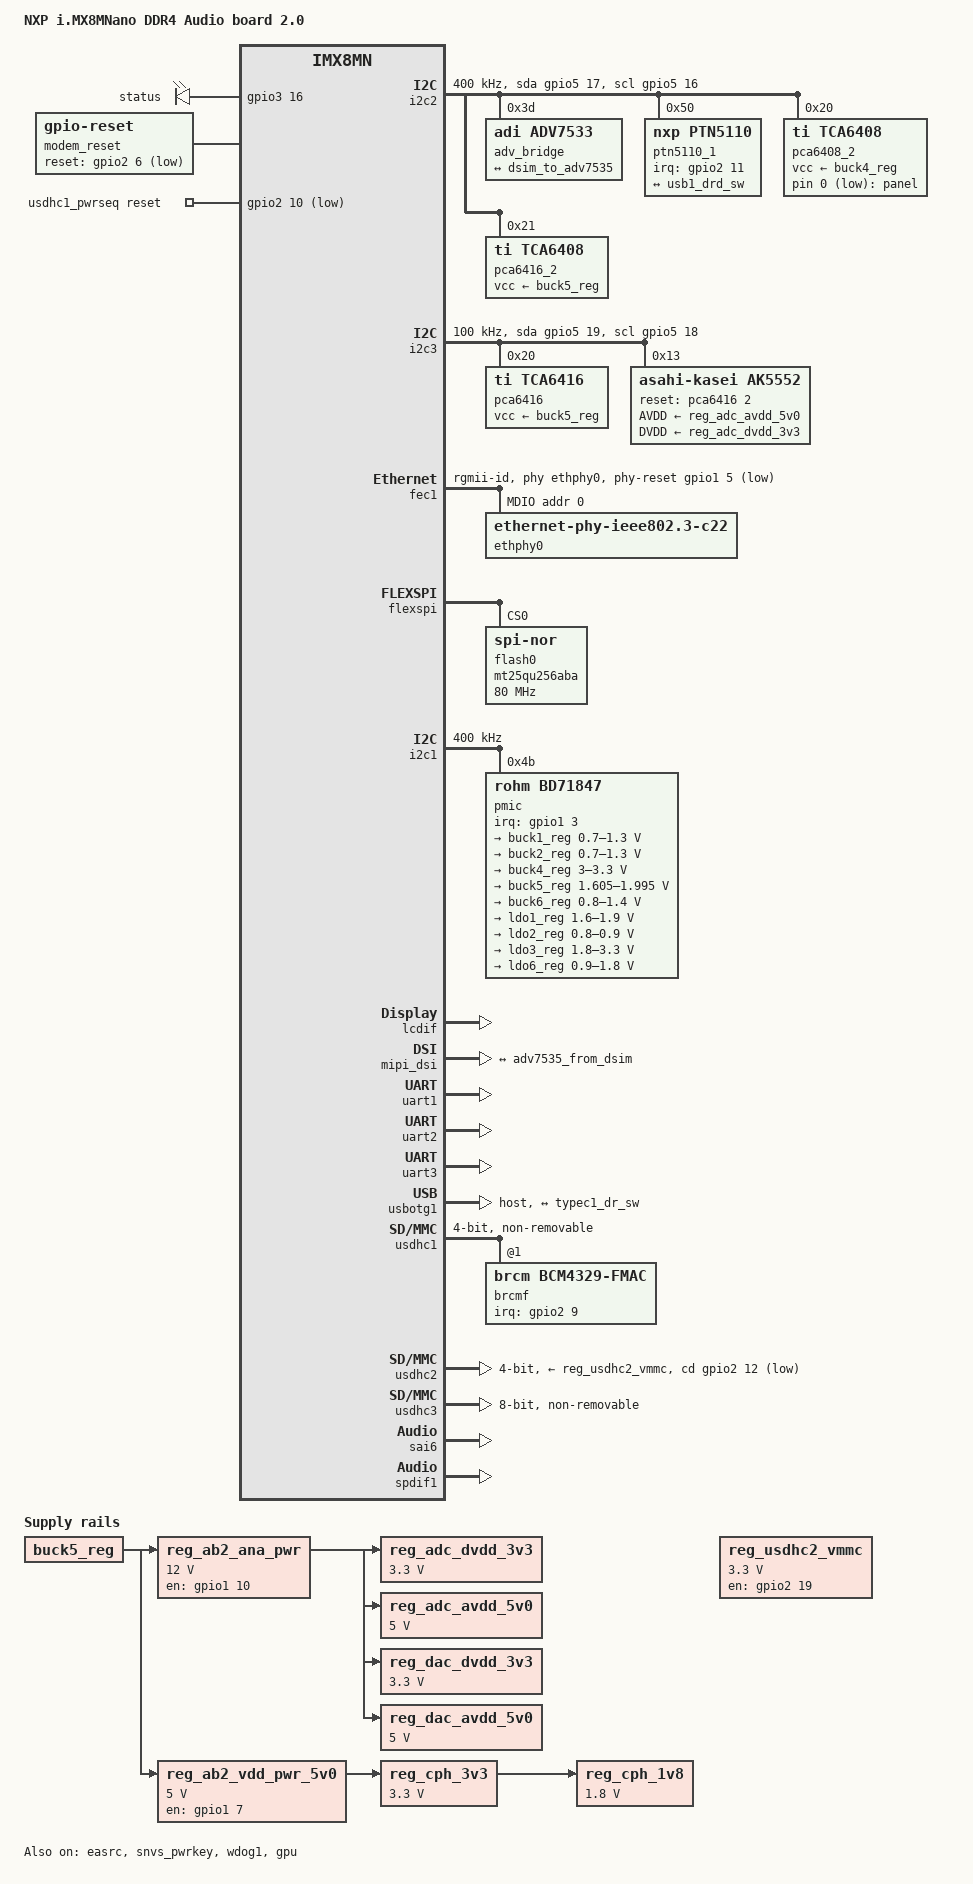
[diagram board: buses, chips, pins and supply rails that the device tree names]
// SPDX-License-Identifier: (GPL-2.0+ OR MIT)
/*
 * Copyright 2020 NXP
 */

/dts-v1/;

#include <dt-bindings/usb/pd.h>
#include "imx8mn.dtsi"

/ {
	model = "NXP i.MX8MNano DDR4 Audio board 2.0";
	compatible = "fsl,imx8mn-ddr4-ab2", "fsl,imx8mn";

	chosen {
		stdout-path = &uart2;
	};

	leds {
		compatible = "gpio-leds";
		pinctrl-names = "default";
		pinctrl-0 = <&pinctrl_gpio_led>;

		status {
			label = "status";
			gpios = <&gpio3 16 GPIO_ACTIVE_HIGH>;
			default-state = "on";
		};

		panel {
			label = "panel";
			gpios = <&pca6408_2 0 GPIO_ACTIVE_LOW>;
			default-state = "on";
		};
	};

	modem_reset: modem-reset {
		compatible = "gpio-reset";
		reset-gpios = <&gpio2 6 GPIO_ACTIVE_LOW>;
		reset-delay-us = <2000>;
		reset-post-delay-ms = <40>;
		#reset-cells = <0>;
	};

	usdhc1_pwrseq: usdhc1_pwrseq {
		compatible = "mmc-pwrseq-simple";
		pinctrl-names = "default";
		pinctrl-0 = <&pinctrl_usdhc1_gpio>;
		reset-gpios = <&gpio2 10 GPIO_ACTIVE_LOW>;
	};

	reg_usdhc2_vmmc: regulator-usdhc2 {
		compatible = "regulator-fixed";
		pinctrl-names = "default";
		pinctrl-0 = <&pinctrl_reg_usdhc2_vmmc>;
		regulator-name = "VSD_3V3";
		regulator-min-microvolt = <3300000>;
		regulator-max-microvolt = <3300000>;
		gpio = <&gpio2 19 GPIO_ACTIVE_HIGH>;
		off-on-delay-us = <12000>;
		enable-active-high;
	};

	reg_ab2_ana_pwr: regulator-ab2-ana-pwr {
		compatible = "regulator-fixed";
		regulator-name = "ANA_12V0";
		pinctrl-names = "default";
		pinctrl-0 = <&pinctrl_ab2_ana_pwr>;
		regulator-min-microvolt = <12000000>;
		regulator-max-microvolt = <12000000>;
		gpio = <&gpio1 10 GPIO_ACTIVE_HIGH>;
		vin-supply = <&buck5_reg>;
		enable-active-high;
	};

	reg_ab2_vdd_pwr_5v0: regulator-ab2-vdd-pwr-5v0 {
		compatible = "regulator-fixed";
		regulator-name = "VDD_5V0";
		pinctrl-names = "default";
		pinctrl-0 = <&pinctrl_ab2_vdd_pwr_5v0>;
		regulator-min-microvolt = <5000000>;
		regulator-max-microvolt = <5000000>;
		gpio = <&gpio1 7 GPIO_ACTIVE_HIGH>;
		vin-supply = <&buck5_reg>;
		enable-active-high;
		regulator-always-on;
		regulator-boot-on;
	};

	reg_adc_dvdd_3v3: reg-adc-dvdd-3v3 {
		compatible = "regulator-fixed";
		regulator-name = "ADC_DVDD_3V3";
		regulator-min-microvolt = <3300000>;
		regulator-max-microvolt = <3300000>;
		vin-supply = <&reg_ab2_ana_pwr>;
	};

	reg_adc_avdd_5v0: reg-adc-avdd-5v0 {
		compatible = "regulator-fixed";
		regulator-name = "ADC_AVDD_5V0";
		regulator-min-microvolt = <5000000>;
		regulator-max-microvolt = <5000000>;
		vin-supply = <&reg_ab2_ana_pwr>;
	};

	reg_dac_dvdd_3v3: reg-dac-dvdd-3v3 {
		compatible = "regulator-fixed";
		regulator-name = "DAC_DVDD_3V3";
		regulator-min-microvolt = <3300000>;
		regulator-max-microvolt = <3300000>;
		vin-supply = <&reg_ab2_ana_pwr>;
	};

	reg_dac_avdd_5v0: reg-dac-avdd-5v0 {
		compatible = "regulator-fixed";
		regulator-name = "DAC_AVDD_5V0";
		regulator-min-microvolt = <5000000>;
		regulator-max-microvolt = <5000000>;
		vin-supply = <&reg_ab2_ana_pwr>;
	};

	reg_cph_3v3: reg-cph-3v3 {
		compatible = "regulator-fixed";
		regulator-name = "CPH_3V3";
		regulator-min-microvolt = <3300000>;
		regulator-max-microvolt = <3300000>;
		vin-supply = <&reg_ab2_vdd_pwr_5v0>;
	};

	reg_cph_1v8: reg-cph-1v8 {
		compatible = "regulator-fixed";
		regulator-name = "CPH_1V8";
		regulator-min-microvolt = <1800000>;
		regulator-max-microvolt = <1800000>;
		vin-supply = <&reg_cph_3v3>;
	};

	sound-ak5552 {
		compatible = "fsl,imx-audio-ak5552";
		model = "ak5552-audio";
		audio-cpu = <&sai6>;
		audio-codec = <&ak5552>;
	};

	sound-spdif {
		compatible = "fsl,imx-audio-spdif";
		model = "imx-spdif";
		spdif-controller = <&spdif1>;
		spdif-out;
		spdif-in;
	};
};

&clk {
	assigned-clocks = <&clk IMX8MN_AUDIO_PLL1>, <&clk IMX8MN_AUDIO_PLL2>;
	assigned-clock-rates = <393216000>, <361267200>;
};

&easrc {
	fsl,asrc-rate  = <48000>;
	status = "okay";
};

&A53_0 {
	cpu-supply = <&buck2_reg>;
};

&iomuxc {
	pinctrl-names = "default";

	pinctrl_fec1: fec1grp {
		fsl,pins = <
			MX8MN_IOMUXC_ENET_MDC_ENET1_MDC		0x3
			MX8MN_IOMUXC_ENET_MDIO_ENET1_MDIO	0x3
			MX8MN_IOMUXC_ENET_TD3_ENET1_RGMII_TD3	0x1f
			MX8MN_IOMUXC_ENET_TD2_ENET1_RGMII_TD2	0x1f
			MX8MN_IOMUXC_ENET_TD1_ENET1_RGMII_TD1	0x1f
			MX8MN_IOMUXC_ENET_TD0_ENET1_RGMII_TD0	0x1f
			MX8MN_IOMUXC_ENET_RD3_ENET1_RGMII_RD3	0x91
			MX8MN_IOMUXC_ENET_RD2_ENET1_RGMII_RD2	0x91
			MX8MN_IOMUXC_ENET_RD1_ENET1_RGMII_RD1	0x91
			MX8MN_IOMUXC_ENET_RD0_ENET1_RGMII_RD0	0x91
			MX8MN_IOMUXC_ENET_TXC_ENET1_RGMII_TXC	0x1f
			MX8MN_IOMUXC_ENET_RXC_ENET1_RGMII_RXC	0x91
			MX8MN_IOMUXC_ENET_RX_CTL_ENET1_RGMII_RX_CTL	0x91
			MX8MN_IOMUXC_ENET_TX_CTL_ENET1_RGMII_TX_CTL	0x1f
			MX8MN_IOMUXC_GPIO1_IO05_GPIO1_IO5	0x19
		>;
	};

	pinctrl_gpio_led: gpioledgrp {
		fsl,pins = <
			MX8MN_IOMUXC_NAND_READY_B_GPIO3_IO16	0x19
		>;
	};

	pinctrl_flexspi0: flexspi0grp {
		fsl,pins = <
			MX8MN_IOMUXC_NAND_ALE_QSPI_A_SCLK 0x1c4
			MX8MN_IOMUXC_NAND_CE0_B_QSPI_A_SS0_B 0x84
			MX8MN_IOMUXC_NAND_DATA00_QSPI_A_DATA0 0x84
			MX8MN_IOMUXC_NAND_DATA01_QSPI_A_DATA1 0x84
			MX8MN_IOMUXC_NAND_DATA02_QSPI_A_DATA2 0x84
			MX8MN_IOMUXC_NAND_DATA03_QSPI_A_DATA3 0x84
		>;
	};

	pinctrl_mipi_dsi_en: mipi_dsi_en {
		fsl,pins = <
			MX8MN_IOMUXC_GPIO1_IO08_GPIO1_IO8		0x16
		>;
	};

	pinctrl_i2c1: i2c1grp {
		fsl,pins = <
			MX8MN_IOMUXC_I2C1_SCL_I2C1_SCL		0x400001c3
			MX8MN_IOMUXC_I2C1_SDA_I2C1_SDA		0x400001c3
		>;
	};

	pinctrl_pmic: pmicirq {
		fsl,pins = <
			MX8MN_IOMUXC_GPIO1_IO03_GPIO1_IO3	0x41
		>;
	};

	pinctrl_ab2_ana_pwr: ab2anapwrgrp {
		fsl,pins = <
			MX8MN_IOMUXC_GPIO1_IO10_GPIO1_IO10	0x41
		>;
	};

	pinctrl_ab2_vdd_pwr_5v0: ab2vddpwr5v0grp {
		fsl,pins = <
			MX8MN_IOMUXC_GPIO1_IO07_GPIO1_IO7	0x41
		>;
	};

	pinctrl_reg_usdhc2_vmmc: regusdhc2vmmc {
		fsl,pins = <
			MX8MN_IOMUXC_SD2_RESET_B_GPIO2_IO19	0x41
		>;
	};

	pinctrl_i2c2: i2c2grp {
		fsl,pins = <
			MX8MN_IOMUXC_I2C2_SCL_I2C2_SCL			0x400001c3
			MX8MN_IOMUXC_I2C2_SDA_I2C2_SDA			0x400001c3
		>;
	};

	pinctrl_i2c3: i2c3grp {
		fsl,pins = <
			MX8MN_IOMUXC_I2C3_SCL_I2C3_SCL			0x400001c3
			MX8MN_IOMUXC_I2C3_SDA_I2C3_SDA			0x400001c3
		>;
	};

	pinctrl_i2c4: i2c4grp {
		fsl,pins = <
			MX8MN_IOMUXC_I2C4_SCL_I2C4_SCL			0x400001c3
			MX8MN_IOMUXC_I2C4_SDA_I2C4_SDA			0x400001c3
		>;
	};

	pinctrl_i2c2_gpio: i2c2grp-gpio {
		fsl,pins = <
			MX8MN_IOMUXC_I2C2_SCL_GPIO5_IO16		0x1c3
			MX8MN_IOMUXC_I2C2_SDA_GPIO5_IO17		0x1c3
		>;
	};

	pinctrl_i2c3_gpio: i2c3grp-gpio {
		fsl,pins = <
			MX8MN_IOMUXC_I2C3_SCL_GPIO5_IO18		0x1c3
			MX8MN_IOMUXC_I2C3_SDA_GPIO5_IO19		0x1c3
		>;
	};

	pinctrl_i2c4_gpio: i2c4grp-gpio {
		fsl,pins = <
			MX8MN_IOMUXC_I2C4_SCL_GPIO5_IO20		0x1c3
			MX8MN_IOMUXC_I2C4_SDA_GPIO5_IO21		0x1c3
		>;
	};

	pinctrl_i2c2_synaptics_dsx_io: synaptics_dsx_iogrp {
		fsl,pins = <
			MX8MN_IOMUXC_GPIO1_IO09_GPIO1_IO9		0x19
		>;
	};

	pinctrl_sai3: sai3grp {
		fsl,pins = <
			MX8MN_IOMUXC_SAI3_MCLK_SAI3_MCLK	0xd6
			MX8MN_IOMUXC_SAI3_RXC_SAI3_RX_BCLK	0xd6
			MX8MN_IOMUXC_SAI3_RXFS_SAI3_RX_SYNC	0xd6
			MX8MN_IOMUXC_SAI3_RXD_SAI3_RX_DATA0	0xd6
		>;
	};

	pinctrl_sai6: sai6grp {
		fsl,pins = <
			MX8MN_IOMUXC_ENET_TX_CTL_SAI6_MCLK      0xd6
			MX8MN_IOMUXC_ENET_TD1_SAI6_RX_SYNC      0xd6
			MX8MN_IOMUXC_ENET_TD0_SAI6_RX_BCLK      0xd6
			MX8MN_IOMUXC_ENET_TD2_SAI6_RX_DATA0     0xd6
		>;
	};

	pinctrl_spdif1: spdif1grp {
		fsl,pins = <
			MX8MN_IOMUXC_SPDIF_TX_SPDIF1_OUT	0xd6
			MX8MN_IOMUXC_SPDIF_RX_SPDIF1_IN		0xd6
		>;
	};

	pinctrl_typec1: typec1grp {
		fsl,pins = <
			MX8MN_IOMUXC_SD1_STROBE_GPIO2_IO11      0x159
		>;
	};

	pinctrl_uart1: uart1grp {
		fsl,pins = <
			MX8MN_IOMUXC_UART1_RXD_UART1_DCE_RX	0x140
			MX8MN_IOMUXC_UART1_TXD_UART1_DCE_TX	0x140
			MX8MN_IOMUXC_UART3_RXD_UART1_DCE_CTS_B	0x140
			MX8MN_IOMUXC_UART3_TXD_UART1_DCE_RTS_B	0x140
			MX8MN_IOMUXC_SD1_DATA4_GPIO2_IO6	0x19
		>;
	};

	pinctrl_uart2: uart2grp {
		fsl,pins = <
			MX8MN_IOMUXC_UART2_RXD_UART2_DCE_RX	0x140
			MX8MN_IOMUXC_UART2_TXD_UART2_DCE_TX	0x140
		>;
	};

	pinctrl_uart3: uart3grp {
		fsl,pins = <
			MX8MN_IOMUXC_ECSPI1_SCLK_UART3_DCE_RX		0x140
			MX8MN_IOMUXC_ECSPI1_MOSI_UART3_DCE_TX		0x140
			MX8MN_IOMUXC_ECSPI1_SS0_UART3_DCE_RTS_B		0x140
			MX8MN_IOMUXC_ECSPI1_MISO_UART3_DCE_CTS_B	0x140
		>;
	};

	pinctrl_usdhc1_gpio: usdhc1grpgpio {
		fsl,pins = <
			MX8MN_IOMUXC_SD1_RESET_B_GPIO2_IO10	0x41
		>;
	};

	pinctrl_usdhc1: usdhc1grp {
		fsl,pins = <
			MX8MN_IOMUXC_SD1_CLK_USDHC1_CLK		0x190
			MX8MN_IOMUXC_SD1_CMD_USDHC1_CMD		0x1d0
			MX8MN_IOMUXC_SD1_DATA0_USDHC1_DATA0	0x1d0
			MX8MN_IOMUXC_SD1_DATA1_USDHC1_DATA1	0x1d0
			MX8MN_IOMUXC_SD1_DATA2_USDHC1_DATA2	0x1d0
			MX8MN_IOMUXC_SD1_DATA3_USDHC1_DATA3	0x1d0
		>;
	};

	pinctrl_usdhc1_100mhz: usdhc1grp100mhz {
		fsl,pins = <
			MX8MN_IOMUXC_SD1_CLK_USDHC1_CLK		0x194
			MX8MN_IOMUXC_SD1_CMD_USDHC1_CMD		0x1d4
			MX8MN_IOMUXC_SD1_DATA0_USDHC1_DATA0	0x1d4
			MX8MN_IOMUXC_SD1_DATA1_USDHC1_DATA1	0x1d4
			MX8MN_IOMUXC_SD1_DATA2_USDHC1_DATA2	0x1d4
			MX8MN_IOMUXC_SD1_DATA3_USDHC1_DATA3	0x1d4
		>;
	};

	pinctrl_usdhc1_200mhz: usdhc1grp200mhz {
		fsl,pins = <
			MX8MN_IOMUXC_SD1_CLK_USDHC1_CLK		0x196
			MX8MN_IOMUXC_SD1_CMD_USDHC1_CMD		0x1d6
			MX8MN_IOMUXC_SD1_DATA0_USDHC1_DATA0	0x1d6
			MX8MN_IOMUXC_SD1_DATA1_USDHC1_DATA1	0x1d6
			MX8MN_IOMUXC_SD1_DATA2_USDHC1_DATA2	0x1d6
			MX8MN_IOMUXC_SD1_DATA3_USDHC1_DATA3	0x1d6
		>;
	};

	pinctrl_usdhc2_gpio: usdhc2grpgpio {
		fsl,pins = <
			MX8MN_IOMUXC_SD2_CD_B_GPIO2_IO12	0x1c4
		>;
	};

	pinctrl_usdhc2: usdhc2grp {
		fsl,pins = <
			MX8MN_IOMUXC_SD2_CLK_USDHC2_CLK		0x190
			MX8MN_IOMUXC_SD2_CMD_USDHC2_CMD		0x1d0
			MX8MN_IOMUXC_SD2_DATA0_USDHC2_DATA0	0x1d0
			MX8MN_IOMUXC_SD2_DATA1_USDHC2_DATA1	0x1d0
			MX8MN_IOMUXC_SD2_DATA2_USDHC2_DATA2	0x1d0
			MX8MN_IOMUXC_SD2_DATA3_USDHC2_DATA3	0x1d0
			MX8MN_IOMUXC_GPIO1_IO04_USDHC2_VSELECT	0x1d0
		>;
	};

	pinctrl_usdhc2_100mhz: usdhc2grp100mhz {
		fsl,pins = <
			MX8MN_IOMUXC_SD2_CLK_USDHC2_CLK		0x194
			MX8MN_IOMUXC_SD2_CMD_USDHC2_CMD		0x1d4
			MX8MN_IOMUXC_SD2_DATA0_USDHC2_DATA0	0x1d4
			MX8MN_IOMUXC_SD2_DATA1_USDHC2_DATA1	0x1d4
			MX8MN_IOMUXC_SD2_DATA2_USDHC2_DATA2	0x1d4
			MX8MN_IOMUXC_SD2_DATA3_USDHC2_DATA3	0x1d4
			MX8MN_IOMUXC_GPIO1_IO04_USDHC2_VSELECT	0x1d0
		>;
	};

	pinctrl_usdhc2_200mhz: usdhc2grp200mhz {
		fsl,pins = <
			MX8MN_IOMUXC_SD2_CLK_USDHC2_CLK		0x196
			MX8MN_IOMUXC_SD2_CMD_USDHC2_CMD		0x1d6
			MX8MN_IOMUXC_SD2_DATA0_USDHC2_DATA0	0x1d6
			MX8MN_IOMUXC_SD2_DATA1_USDHC2_DATA1	0x1d6
			MX8MN_IOMUXC_SD2_DATA2_USDHC2_DATA2	0x1d6
			MX8MN_IOMUXC_SD2_DATA3_USDHC2_DATA3	0x1d6
			MX8MN_IOMUXC_GPIO1_IO04_USDHC2_VSELECT	0x1d0
		>;
	};

	pinctrl_usdhc3: usdhc3grp {
		fsl,pins = <
			MX8MN_IOMUXC_NAND_WE_B_USDHC3_CLK		0x40000190
			MX8MN_IOMUXC_NAND_WP_B_USDHC3_CMD		0x1d0
			MX8MN_IOMUXC_NAND_DATA04_USDHC3_DATA0		0x1d0
			MX8MN_IOMUXC_NAND_DATA05_USDHC3_DATA1		0x1d0
			MX8MN_IOMUXC_NAND_DATA06_USDHC3_DATA2		0x1d0
			MX8MN_IOMUXC_NAND_DATA07_USDHC3_DATA3		0x1d0
			MX8MN_IOMUXC_NAND_RE_B_USDHC3_DATA4		0x1d0
			MX8MN_IOMUXC_NAND_CE2_B_USDHC3_DATA5		0x1d0
			MX8MN_IOMUXC_NAND_CE3_B_USDHC3_DATA6		0x1d0
			MX8MN_IOMUXC_NAND_CLE_USDHC3_DATA7		0x1d0
			MX8MN_IOMUXC_NAND_CE1_B_USDHC3_STROBE		0x190
		>;
	};

	pinctrl_usdhc3_100mhz: usdhc3grp100mhz {
		fsl,pins = <
			MX8MN_IOMUXC_NAND_WE_B_USDHC3_CLK		0x40000194
			MX8MN_IOMUXC_NAND_WP_B_USDHC3_CMD		0x1d4
			MX8MN_IOMUXC_NAND_DATA04_USDHC3_DATA0		0x1d4
			MX8MN_IOMUXC_NAND_DATA05_USDHC3_DATA1		0x1d4
			MX8MN_IOMUXC_NAND_DATA06_USDHC3_DATA2		0x1d4
			MX8MN_IOMUXC_NAND_DATA07_USDHC3_DATA3		0x1d4
			MX8MN_IOMUXC_NAND_RE_B_USDHC3_DATA4		0x1d4
			MX8MN_IOMUXC_NAND_CE2_B_USDHC3_DATA5		0x1d4
			MX8MN_IOMUXC_NAND_CE3_B_USDHC3_DATA6		0x1d4
			MX8MN_IOMUXC_NAND_CLE_USDHC3_DATA7		0x1d4
			MX8MN_IOMUXC_NAND_CE1_B_USDHC3_STROBE		0x194
		>;
	};

	pinctrl_usdhc3_200mhz: usdhc3grp200mhz {
		fsl,pins = <
			MX8MN_IOMUXC_NAND_WE_B_USDHC3_CLK		0x40000196
			MX8MN_IOMUXC_NAND_WP_B_USDHC3_CMD		0x1d6
			MX8MN_IOMUXC_NAND_DATA04_USDHC3_DATA0		0x1d6
			MX8MN_IOMUXC_NAND_DATA05_USDHC3_DATA1		0x1d6
			MX8MN_IOMUXC_NAND_DATA06_USDHC3_DATA2		0x1d6
			MX8MN_IOMUXC_NAND_DATA07_USDHC3_DATA3		0x1d6
			MX8MN_IOMUXC_NAND_RE_B_USDHC3_DATA4		0x1d6
			MX8MN_IOMUXC_NAND_CE2_B_USDHC3_DATA5		0x1d6
			MX8MN_IOMUXC_NAND_CE3_B_USDHC3_DATA6		0x1d6
			MX8MN_IOMUXC_NAND_CLE_USDHC3_DATA7		0x1d6
			MX8MN_IOMUXC_NAND_CE1_B_USDHC3_STROBE		0x196
		>;
	};

	pinctrl_wdog: wdoggrp {
		fsl,pins = <
			MX8MN_IOMUXC_GPIO1_IO02_WDOG1_WDOG_B		0xc6
		>;
	};

	pinctrl_wlan: wlangrp {
		fsl,pins = <
			MX8MN_IOMUXC_GPIO1_IO00_ANAMIX_REF_CLK_32K	0x141
			MX8MN_IOMUXC_SD1_DATA7_GPIO2_IO9		0x111
		>;
	};
};

&i2c2 {
	clock-frequency = <400000>;
	pinctrl-names = "default", "gpio";
	pinctrl-0 = <&pinctrl_i2c2>;
	pinctrl-1 = <&pinctrl_i2c2_gpio>;
	scl-gpios = <&gpio5 16 GPIO_ACTIVE_HIGH>;
	sda-gpios = <&gpio5 17 GPIO_ACTIVE_HIGH>;
	status = "okay";

	adv_bridge: adv7535@3d {
		compatible = "adi,adv7533";
		reg = <0x3d>;
		adi,addr-cec = <0x3b>;
		adi,dsi-lanes = <4>;
		status = "okay";

		port {
			adv7535_from_dsim: endpoint {
				remote-endpoint = <&dsim_to_adv7535>;
			};
		};
	};

	ptn5110_1: tcpc@50 {
		compatible = "nxp,ptn5110";
		pinctrl-names = "default";
		pinctrl-0 = <&pinctrl_typec1>;
		reg = <0x50>;
		interrupt-parent = <&gpio2>;
		interrupts = <11 8>;
		status = "okay";

		port {
			typec1_dr_sw: endpoint {
				remote-endpoint = <&usb1_drd_sw>;
			};
		};

		typec1_con: connector {
			compatible = "usb-c-connector";
			label = "USB-C";
			power-role = "dual";
			data-role = "dual";
			try-power-role = "sink";
			source-pdos = <PDO_FIXED(5000, 3000, PDO_FIXED_USB_COMM)>;
			sink-pdos = <PDO_FIXED(5000, 3000, PDO_FIXED_USB_COMM)
					PDO_VAR(5000, 20000, 3000)>;
			op-sink-microwatt = <15000000>;
			self-powered;
		};
	};

	pca6408_2: gpio@20 {
		compatible = "ti,tca6408";
		reg = <0x20>;
		gpio-controller;
		#gpio-cells = <2>;
		vcc-supply = <&buck4_reg>;
	};

	pca6416_2: gpio@21 {
		compatible = "ti,tca6408";
		reg = <0x21>;
		gpio-controller;
		#gpio-cells = <2>;
		vcc-supply = <&buck5_reg>;
	};
};

&i2c3 {
	clock-frequency = <100000>;
	pinctrl-names = "default", "gpio";
	pinctrl-0 = <&pinctrl_i2c3>;
	pinctrl-1 = <&pinctrl_i2c3_gpio>;
	scl-gpios = <&gpio5 18 GPIO_ACTIVE_HIGH>;
	sda-gpios = <&gpio5 19 GPIO_ACTIVE_HIGH>;
	status = "okay";

	pca6416: gpio@20 {
		compatible = "ti,tca6416";
		reg = <0x20>;
		gpio-controller;
		#gpio-cells = <2>;
		vcc-supply = <&buck5_reg>;
	};

	ak5552: ak5552@13 {
		compatible = "asahi-kasei,ak5552";
		reg = <0x13>;
		reset-gpios = <&pca6416 2 GPIO_ACTIVE_HIGH>;
		AVDD-supply = <&reg_adc_avdd_5v0>;
		DVDD-supply = <&reg_adc_dvdd_3v3>;
	};
};

&i2c4 {
	clock-frequency = <400000>;
	pinctrl-names = "default", "gpio";
	pinctrl-0 = <&pinctrl_i2c4>;
	pinctrl-1 = <&pinctrl_i2c4_gpio>;
	scl-gpios = <&gpio5 20 GPIO_ACTIVE_HIGH>;
	sda-gpios = <&gpio5 21 GPIO_ACTIVE_HIGH>;
	status = "disabled";
};

&fec1 {
	pinctrl-names = "default";
	pinctrl-0 = <&pinctrl_fec1>;
	phy-mode = "rgmii-id";
	phy-handle = <&ethphy0>;
	phy-reset-gpios = <&gpio1 5 GPIO_ACTIVE_LOW>;
	phy-reset-post-delay = <150>;
	phy-reset-duration = <10>;
	fsl,magic-packet;
	status = "okay";

	mdio {
		#address-cells = <1>;
		#size-cells = <0>;

		ethphy0: ethernet-phy@0 {
			compatible = "ethernet-phy-ieee802.3-c22";
			reg = <0>;
			eee-broken-1000t;
		};
	};
};

&flexspi {
	pinctrl-names = "default";
	pinctrl-0 = <&pinctrl_flexspi0>;
	status = "okay";

	flash0: mt25qu256aba@0 {
		reg = <0>;
		compatible = "jedec,spi-nor";
		spi-max-frequency = <80000000>;
		spi-tx-bus-width = <4>;
		spi-rx-bus-width = <4>;
	};
};

&i2c1 {
	clock-frequency = <400000>;
	pinctrl-names = "default";
	pinctrl-0 = <&pinctrl_i2c1>;
	status = "okay";

	pmic@4b {
		compatible = "rohm,bd71847";
		reg = <0x4b>;
		pinctrl-0 = <&pinctrl_pmic>;
		interrupt-parent = <&gpio1>;
		interrupts = <3 GPIO_ACTIVE_LOW>;
		rohm,reset-snvs-powered;

		regulators {
			buck1_reg: BUCK1 {
				regulator-name = "BUCK1";
				regulator-min-microvolt = <700000>;
				regulator-max-microvolt = <1300000>;
				regulator-boot-on;
				regulator-always-on;
				regulator-ramp-delay = <1250>;
			};

			buck2_reg: BUCK2 {
				regulator-name = "BUCK2";
				regulator-min-microvolt = <700000>;
				regulator-max-microvolt = <1300000>;
				regulator-boot-on;
				regulator-always-on;
				regulator-ramp-delay = <1250>;
				rohm,dvs-run-voltage = <1000000>;
				rohm,dvs-idle-voltage = <900000>;
			};

			buck4_reg: BUCK4 {
				// BUCK6 in datasheet
				regulator-name = "BUCK4";
				regulator-min-microvolt = <3000000>;
				regulator-max-microvolt = <3300000>;
				regulator-boot-on;
				regulator-always-on;
			};

			buck5_reg: BUCK5 {
				// BUCK7 in datasheet
				regulator-name = "BUCK5";
				regulator-min-microvolt = <1605000>;
				regulator-max-microvolt = <1995000>;
				regulator-boot-on;
				regulator-always-on;
			};

			buck6_reg: BUCK6 {
				// BUCK8 in datasheet
				regulator-name = "BUCK6";
				regulator-min-microvolt = <800000>;
				regulator-max-microvolt = <1400000>;
				regulator-boot-on;
				regulator-always-on;
			};

			ldo1_reg: LDO1 {
				regulator-name = "LDO1";
				regulator-min-microvolt = <1600000>;
				regulator-max-microvolt = <1900000>;
				regulator-boot-on;
				regulator-always-on;
			};

			ldo2_reg: LDO2 {
				regulator-name = "LDO2";
				regulator-min-microvolt = <800000>;
				regulator-max-microvolt = <900000>;
				regulator-boot-on;
				regulator-always-on;
			};

			ldo3_reg: LDO3 {
				regulator-name = "LDO3";
				regulator-min-microvolt = <1800000>;
				regulator-max-microvolt = <3300000>;
				regulator-boot-on;
				regulator-always-on;
			};

			ldo6_reg: LDO6 {
				regulator-name = "LDO6";
				regulator-min-microvolt = <900000>;
				regulator-max-microvolt = <1800000>;
				regulator-boot-on;
				regulator-always-on;
			};
		};
	};
};

&lcdif {
	status = "okay";
};

&mipi_dsi {
	status = "okay";

	port@1 {
		dsim_to_adv7535: endpoint {
			remote-endpoint = <&adv7535_from_dsim>;
			attach-bridge;
		};
	};
};

&snvs_pwrkey {
	status = "okay";
};

&uart1 { /* BT */
	pinctrl-names = "default";
	pinctrl-0 = <&pinctrl_uart1>;
	assigned-clocks = <&clk IMX8MN_CLK_UART1>;
	assigned-clock-parents = <&clk IMX8MN_SYS_PLL1_80M>;
	fsl,uart-has-rtscts;
	resets = <&modem_reset>;
	status = "okay";
};

&uart2 { /* console */
	pinctrl-names = "default";
	pinctrl-0 = <&pinctrl_uart2>;
	status = "okay";
};

&uart3 {
	pinctrl-names = "default";
	pinctrl-0 = <&pinctrl_uart3>;
	assigned-clocks = <&clk IMX8MN_CLK_UART3>;
	assigned-clock-parents = <&clk IMX8MN_SYS_PLL1_80M>;
	fsl,uart-has-rtscts;
	status = "okay";
};

&usbotg1 {
	dr_mode = "host";
	hnp-disable;
	srp-disable;
	adp-disable;
	usb-role-switch;
	picophy,pre-emp-curr-control = <3>;
	picophy,dc-vol-level-adjust = <7>;
	status = "okay";

	port {
		usb1_drd_sw: endpoint {
			remote-endpoint = <&typec1_dr_sw>;
		};
	};
};

&usdhc1 {
	#address-cells = <1>;
	#size-cells = <0>;
	pinctrl-names = "default", "state_100mhz", "state_200mhz";
	pinctrl-0 = <&pinctrl_usdhc1>, <&pinctrl_wlan>;
	pinctrl-1 = <&pinctrl_usdhc1_100mhz>, <&pinctrl_wlan>;
	pinctrl-2 = <&pinctrl_usdhc1_200mhz>, <&pinctrl_wlan>;
	bus-width = <4>;
	pm-ignore-notify;
	keep-power-in-suspend;
	non-removable;
	cap-power-off-card;
	/delete-property/ vmmc-supply;
	mmc-pwrseq = <&usdhc1_pwrseq>;
	status = "okay";

	brcmf: bcrmf@1 {
		reg = <1>;
		compatible = "brcm,bcm4329-fmac";
		interrupt-parent = <&gpio2>;
		interrupts = <9 IRQ_TYPE_LEVEL_HIGH>;
		interrupt-names = "host-wake";
	};
};

&usdhc2 {
	pinctrl-names = "default", "state_100mhz", "state_200mhz";
	pinctrl-0 = <&pinctrl_usdhc2>, <&pinctrl_usdhc2_gpio>;
	pinctrl-1 = <&pinctrl_usdhc2_100mhz>, <&pinctrl_usdhc2_gpio>;
	pinctrl-2 = <&pinctrl_usdhc2_200mhz>, <&pinctrl_usdhc2_gpio>;
	cd-gpios = <&gpio2 12 GPIO_ACTIVE_LOW>;
	bus-width = <4>;
	vmmc-supply = <&reg_usdhc2_vmmc>;
	status = "okay";
};

&usdhc3 {
	pinctrl-names = "default", "state_100mhz", "state_200mhz";
	pinctrl-0 = <&pinctrl_usdhc3>;
	pinctrl-1 = <&pinctrl_usdhc3_100mhz>;
	pinctrl-2 = <&pinctrl_usdhc3_200mhz>;
	bus-width = <8>;
	non-removable;
	status = "okay";
};

&wdog1 {
	pinctrl-names = "default";
	pinctrl-0 = <&pinctrl_wdog>;
	fsl,ext-reset-output;
	status = "okay";
};

&gpu {
	assigned-clocks = <&clk IMX8MN_CLK_GPU_CORE_SRC>,
			<&clk IMX8MN_CLK_GPU_SHADER_SRC>,
			<&clk IMX8MN_CLK_GPU_AXI>,
			<&clk IMX8MN_CLK_GPU_AHB>,
			<&clk IMX8MN_GPU_PLL>,
			<&clk IMX8MN_CLK_GPU_CORE_DIV>,
			<&clk IMX8MN_CLK_GPU_SHADER_DIV>;
	assigned-clock-parents = <&clk IMX8MN_GPU_PLL_OUT>,
			<&clk IMX8MN_GPU_PLL_OUT>,
			<&clk IMX8MN_SYS_PLL1_800M>,
			<&clk IMX8MN_SYS_PLL1_800M>;
	assigned-clock-rates = <0>, <0>, <800000000>, <400000000>, <1200000000>,
			<400000000>, <400000000>;
	status= "okay";
};

&sai3 {
	pinctrl-names = "default";
	pinctrl-0 = <&pinctrl_sai3>;
	assigned-clocks = <&clk IMX8MN_CLK_SAI3>;
	assigned-clock-parents = <&clk IMX8MN_AUDIO_PLL1_OUT>;
	assigned-clock-rates = <49152000>;
	clocks = <&clk IMX8MN_CLK_SAI3_IPG>, <&clk IMX8MN_CLK_DUMMY>,
		<&clk IMX8MN_CLK_SAI3_ROOT>, <&clk IMX8MN_CLK_DUMMY>,
		<&clk IMX8MN_CLK_DUMMY>, <&clk IMX8MN_AUDIO_PLL1_OUT>,
		<&clk IMX8MN_AUDIO_PLL2_OUT>;
	clock-names = "bus", "mclk0", "mclk1", "mclk2", "mclk3", "pll8k", "pll11k";
	status = "disabled";
};

&sai6 {
	pinctrl-names = "default";
	pinctrl-0 = <&pinctrl_sai6>;
	assigned-clocks = <&clk IMX8MN_CLK_SAI6>;
	assigned-clock-parents = <&clk IMX8MN_AUDIO_PLL1_OUT>;
	assigned-clock-rates = <0>, <24576000>;
	clocks = <&clk IMX8MN_CLK_SAI6_IPG>, <&clk IMX8MN_CLK_DUMMY>,
		<&clk IMX8MN_CLK_SAI6_ROOT>, <&clk IMX8MN_CLK_DUMMY>,
		<&clk IMX8MN_CLK_DUMMY>, <&clk IMX8MN_AUDIO_PLL1_OUT>,
		<&clk IMX8MN_AUDIO_PLL2_OUT>;
	clock-names = "bus", "mclk0", "mclk1", "mclk2", "mclk3", "pll8k", "pll11k";
	fsl,sai-asynchronous;
	status = "okay";
};

&spdif1 {
	pinctrl-names = "default";
	pinctrl-0 = <&pinctrl_spdif1>;
	assigned-clocks = <&clk IMX8MN_CLK_SPDIF1>;
	assigned-clock-parents = <&clk IMX8MN_AUDIO_PLL1_OUT>;
	assigned-clock-rates = <24576000>;
	clocks = <&clk IMX8MN_CLK_AUDIO_AHB>, <&clk IMX8MN_CLK_24M>,
		<&clk IMX8MN_CLK_SPDIF1>, <&clk IMX8MN_CLK_DUMMY>,
		<&clk IMX8MN_CLK_DUMMY>, <&clk IMX8MN_CLK_DUMMY>,
		<&clk IMX8MN_CLK_AUDIO_AHB>, <&clk IMX8MN_CLK_DUMMY>,
		<&clk IMX8MN_CLK_DUMMY>, <&clk IMX8MN_CLK_DUMMY>,
		<&clk IMX8MN_AUDIO_PLL1_OUT>, <&clk IMX8MN_AUDIO_PLL2_OUT>;
	clock-names = "core", "rxtx0", "rxtx1", "rxtx2", "rxtx3",
		"rxtx4", "rxtx5", "rxtx6", "rxtx7", "spba", "pll8k", "pll11k";
	status = "okay";
};
